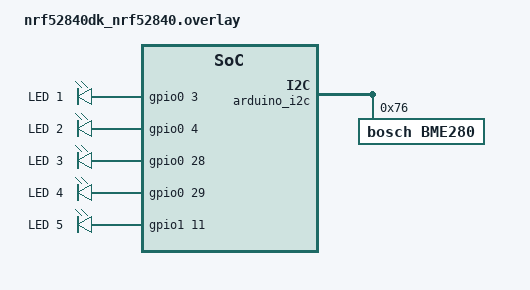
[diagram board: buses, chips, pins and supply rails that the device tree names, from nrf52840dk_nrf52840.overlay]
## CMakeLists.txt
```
cmake_minimum_required(VERSION 3.20.0)
find_package(Zephyr REQUIRED HINTS $ENV{ZEPHYR_BASE})

project(ThirdEx)

target_sources(app PRIVATE src/main.c)
```

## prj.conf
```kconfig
CONFIG_SENSOR=y
CONFIG_I2C=y
CONFIG_LOG=y
CONFIG_LOG_PRINTK=y
CONFIG_THREAD_NAME=y
CONFIG_GPIO=y
```

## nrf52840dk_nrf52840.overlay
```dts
// To get started, press Ctrl+Space to bring up the completion menu and view the available nodes.

// You can also use the buttons in the sidebar to perform actions on nodes.
// Actions currently available include:

// * Enabling / disabling the node
// * Adding the bus to a bus
// * Removing the node
// * Connecting ADC channels

// For more help, browse the DeviceTree documentation at https://docs.zephyrproject.org/latest/guides/dts/index.html
// You can also visit the nRF DeviceTree extension documentation at https://nrfconnect.github.io/vscode-nrf-connect/devicetree/nrfdevicetree.html
&arduino_i2c {
	status = "okay";
	bme280@76 {
		compatible = "bosch,bme280";
		reg = <0x76>;
	};
};
/{
    leds {
        led4: led_4{
            gpios = <&gpio0 3 GPIO_ACTIVE_HIGH>;
            label = "LED 1";
        
        };
        led5: led_5{
            gpios = <&gpio0 4 GPIO_ACTIVE_HIGH>;
            label = "LED 2";
        
        };
        led6: led_6{
            gpios = <&gpio0 28 GPIO_ACTIVE_HIGH>;
            label = "LED 3";
        
        };
        led7: led_7{
            gpios = <&gpio0 29 GPIO_ACTIVE_HIGH>;
            label = "LED 4";
        
        };
        led8: led_8{
            gpios = <&gpio1 11 GPIO_ACTIVE_HIGH>;
            label = "LED 5";
        
        };
    };
};
```

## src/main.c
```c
/*
 * Copyright (c) 2012-2014 Wind River Systems, Inc.
 * Copyright (c) 2021 Nordic Semiconductor ASA
 *
 * SPDX-License-Identifier: Apache-2.0
 */
// This exercise is based on BME280 sample communicated by I2C, the topic of this sample was LED thermometer
#include <zephyr/kernel.h>
#include <zephyr/device.h>
#include <zephyr/devicetree.h>
#include <zephyr/drivers/sensor.h>
#include <zephyr/drivers/gpio.h>
#include <zephyr/logging/log.h>
#include <zephyr/sys/printk.h>
#include "defines.h"
#define LED1_NODE DT_NODELABEL(led4)
#define LED2_NODE DT_NODELABEL(led5)
#define LED3_NODE DT_NODELABEL(led6)
#define LED4_NODE DT_NODELABEL(led7)
#define LED5_NODE DT_NODELABEL(led8)



#define SLEEP_TIME_MS 1000
#define STACKSIZE 1024
#define PRIORITY 5


LOG_MODULE_REGISTER(LEDTHERMOMETER,LOG_LEVEL_DBG);


K_THREAD_STACK_DEFINE(thread_led_stack,STACKSIZE);
K_THREAD_STACK_DEFINE(thread_sensor_stack,STACKSIZE);


static struct k_thread thread_led;
static struct k_thread thread_sensor;


typedef struct led {
	struct gpio_dt_spec spec;
}led_t;


static const led_t leds[] = {
        {.spec = GPIO_DT_SPEC_GET(LED1_NODE, gpios)},
        {.spec = GPIO_DT_SPEC_GET(LED2_NODE, gpios)},
        {.spec = GPIO_DT_SPEC_GET(LED3_NODE, gpios)},
        {.spec = GPIO_DT_SPEC_GET(LED4_NODE, gpios)},
        {.spec = GPIO_DT_SPEC_GET(LED5_NODE, gpios)}
    };


struct sensor_value temp, press, humidity;


//BME280 init
static const struct device *get_bme280_device(void)
{
	const struct device *const dev = DEVICE_DT_GET_ANY(bosch_bme280);

	if (dev == NULL) {
		/* No such node, or the node does not have status "okay". */
		printk("\nError: no device found.\n");
		return NULL;
	}

	if (!device_is_ready(dev)) {
		printk("\nError: Device \"%s\" is not ready; "
		       "check the driver initialization logs for errors.\n",
		       dev->name);
		return NULL;
	}

	printk("Found device \"%s\", getting sensor data\n", dev->name);
	return dev;
}
//BME280 init
void sensorbme280(){
const struct device *dev = get_bme280_device();

	if (dev == NULL) {
		return 0;
	}

	while (1) {
		

		sensor_sample_fetch(dev);
		sensor_channel_get(dev, SENSOR_CHAN_AMBIENT_TEMP, &temp);
		sensor_channel_get(dev, SENSOR_CHAN_PRESS, &press);
		sensor_channel_get(dev, SENSOR_CHAN_HUMIDITY, &humidity);

		printk("temp: %d.%06d; press: %d.%06d; humidity: %d.%06d\n",
		      temp.val1, temp.val2, press.val1, press.val2,
		      humidity.val1, humidity.val2);
                k_msleep(100);
		
	}
	return 0;
}

void led_toggler(const struct led *led_array,size_t array_size){
        for(int i =0; i<array_size;i++){
        const struct gpio_dt_spec *spec=&led_array[i].spec;
        gpio_pin_configure_dt(spec, GPIO_OUTPUT);
        if(temp.val1 >= 25+i){
        gpio_pin_set(spec->port,spec->pin,1);
        k_msleep(100);
        }
        else{
           gpio_pin_set(spec->port,spec->pin,0);     
        }
        k_msleep(100);
        }
}


// Funfact when coding I shorted my bme280 with spoon by the mistake, holy fuck XD 


void led_toggler_exec() {
    while (1) {
        led_toggler(leds, ARRAY_SIZE(leds));
    }
}

int main(void)
{
	k_thread_create(&thread_led, thread_led_stack,
			K_THREAD_STACK_SIZEOF(thread_led_stack),
			led_toggler_exec, NULL, NULL, NULL,
			PRIORITY, 0, K_FOREVER);

	k_thread_create(&thread_sensor, thread_sensor_stack,
			K_THREAD_STACK_SIZEOF(thread_sensor_stack),
			sensorbme280, NULL, NULL, NULL,
			PRIORITY+1, 0, K_FOREVER);

	k_thread_start(&thread_led);
	k_thread_start(&thread_sensor);
}
```

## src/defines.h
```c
#ifndef DEVICES_H
#define DEVICES_H
void    sensorbme280();
void led_toggler();
void led_toggler_exec();
#endif
```
